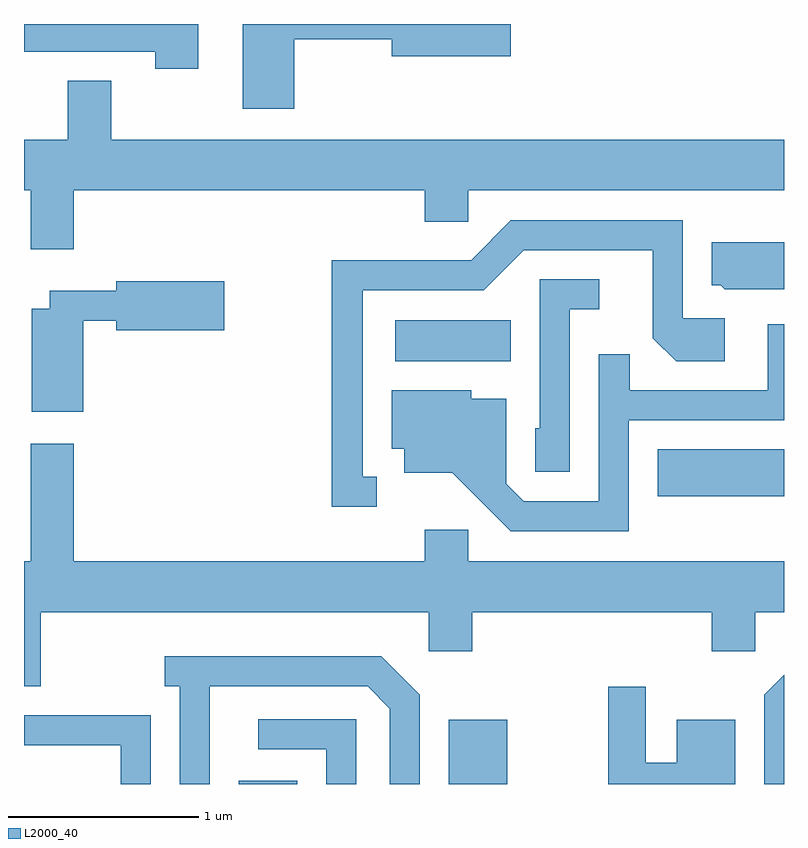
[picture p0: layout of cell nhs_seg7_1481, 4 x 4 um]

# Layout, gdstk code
import gdstk
lib = gdstk.Library(unit=1e-6, precision=1e-09)
def R(c, l, rs):  # rectangles x0, y0, x1, y1
    for r in rs: c.add(gdstk.rectangle(r[:2], r[2:], *l))
def P(c, l, *ps):  # polygons
    for p in ps: c.add(gdstk.Polygon(p, *l))
L2000_40 = (2000, 40)

nhs_seg7_1481 = lib.new_cell('nhs_seg7_1481')
R(nhs_seg7_1481, L2000_40, [(230.741,1762.252,231.049,1762.269), (231.846,1762.252,232.154,1762.589), (232.946,1763.766,233.611,1764.014), (231.566,1764.476,232.174,1764.694)])
P(nhs_seg7_1481, L2000_40, [(231.034,1766.171),(231.546,1766.171),(231.546,1766.081),(232.174,1766.081),(232.174,1766.252),(230.761,1766.252),(230.761,1765.806),(231.034,1765.806)],
  [(230.529,1766.252),(229.611,1766.252),(229.611,1766.106),(230.301,1766.106),(230.301,1766.016),(230.529,1766.016)],
  [(229.874,1765.376),(231.721,1765.376),(231.721,1765.211),(231.949,1765.211),(231.949,1765.376),(233.611,1765.376),(233.611,1765.644),(230.069,1765.644),(230.069,1765.954),(229.841,1765.954),(229.841,1765.644),(229.611,1765.644),(229.611,1765.376),(229.646,1765.376),(229.646,1765.066),(229.874,1765.066)],
  [(231.468,1763.869),(231.394,1763.869),(231.394,1764.851),(232.032,1764.851),(232.242,1765.061),(232.921,1765.061),(232.921,1764.599),(233.044,1764.476),(233.299,1764.476),(233.299,1764.704),(233.079,1764.704),(233.079,1765.219),(232.174,1765.219),(231.964,1765.009),(231.231,1765.009),(231.231,1763.711),(231.468,1763.711)],
  [(233.611,1765.104),(233.231,1765.104),(233.231,1764.876),(233.279,1764.876),(233.299,1764.856),(233.611,1764.856)],
  [(232.484,1764.751),(232.638,1764.751),(232.638,1764.909),(232.326,1764.909),(232.326,1764.124),(232.301,1764.124),(232.301,1763.896),(232.484,1763.896)],
  [(229.924,1764.691),(230.096,1764.691),(230.096,1764.641),(230.664,1764.641),(230.664,1764.899),(230.096,1764.899),(230.096,1764.849),(229.746,1764.849),(229.746,1764.754),(229.651,1764.754),(229.651,1764.211),(229.924,1764.211)],
  [(232.794,1764.166),(233.611,1764.166),(233.611,1764.673),(233.526,1764.673),(233.526,1764.324),(232.799,1764.324),(232.799,1764.513),(232.636,1764.513),(232.636,1763.739),(232.242,1763.739),(232.149,1763.832),(232.149,1764.279),(231.964,1764.279),(231.964,1764.324),(231.546,1764.324),(231.546,1764.016),(231.611,1764.016),(231.611,1763.891),(231.864,1763.891),(232.174,1763.581),(232.794,1763.581)],
  [(229.699,1763.156),(231.741,1763.156),(231.741,1762.951),(231.969,1762.951),(231.969,1763.156),(233.231,1763.156),(233.231,1762.951),(233.459,1762.951),(233.459,1763.156),(233.611,1763.156),(233.611,1763.424),(231.949,1763.424),(231.949,1763.589),(231.721,1763.589),(231.721,1763.424),(229.874,1763.424),(229.874,1764.044),(229.646,1764.044),(229.646,1763.424),(229.611,1763.424),(229.611,1762.766),(229.699,1762.766)],
  [(230.589,1762.766),(231.419,1762.766),(231.536,1762.649),(231.536,1762.252),(231.694,1762.252),(231.694,1762.722),(231.492,1762.924),(230.353,1762.924),(230.353,1762.766),(230.431,1762.766),(230.431,1762.252),(230.589,1762.252)],
  [(233.611,1762.826),(233.506,1762.722),(233.506,1762.252),(233.611,1762.252)],
  [(233.354,1762.589),(233.046,1762.589),(233.046,1762.364),(232.884,1762.364),(232.884,1762.764),(232.686,1762.764),(232.686,1762.252),(233.354,1762.252)],
  [(230.279,1762.614),(229.611,1762.614),(229.611,1762.456),(230.121,1762.456),(230.121,1762.252),(230.279,1762.252)],
  [(231.359,1762.594),(230.843,1762.594),(230.843,1762.436),(231.201,1762.436),(231.201,1762.252),(231.359,1762.252)])

lib.write_gds('nhs_seg7_1481.gds')
